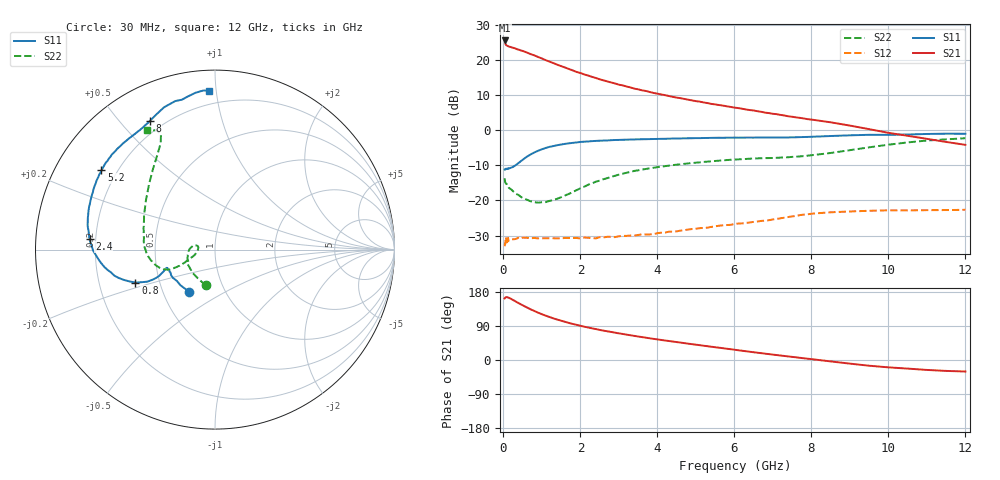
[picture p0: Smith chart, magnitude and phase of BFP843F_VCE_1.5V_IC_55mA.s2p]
! Infineon Technologies  Discrete & RF Semiconductors
! BFP843F
! VCE =  1.5 V,  IC =  55 mA
! Common Emitter S-Parameters:  Aug 2013
# GHz  S  MA  R  50
!  f  S11  S21  S12  S22
! GHz  MAG  ANG  MAG  ANG  MAG  ANG  MAG  ANG
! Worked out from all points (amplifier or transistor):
!   103 points, 30 MHz to 12 GHz, reference 50 ohm
!   highest |S21| = 25.5 dB at 30 MHz (marker M1)
!   |S21| within 3 dB of that: start of sweep to 503.2 MHz
!   unconditionally stable (mu >= 1): start of sweep to end of sweep
!   at 400 MHz: K = 1.29, MAG = 23.4 dB, |S12| = -30.5 dB
!   at 3.7 GHz: K = 1.78, MAG = 15.3 dB, |S12| = -29.7 dB
!   at 12 GHz: K = 1.47, MAG = 5.2 dB, |S12| = -22.7 dB
!   S11 on the Smith chart (normalised r, x): 30 MHz: 0.68, -0.35; 800 MHz: 0.36, -0.17; 2.4 GHz: 0.18, +0.04; 5.2 GHz: 0.14, +0.31; 8 GHz: 0.15, +0.60; 12 GHz: 0.12, +0.96
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0.03  0.2754 -121.2  18.77 162.4  0.0224 29.0  0.206 -104.6
0.04  0.2768 -134.2  17.58 163.0  0.0244 30.3  0.1867 -120.7
0.05  0.2747 -140.3  16.83 165.1  0.0241 22.2  0.1798 -135.1
0.07  0.2832 -149.6  16.13 165.9  0.0284 15.2  0.1727 -146.6
0.1  0.2799 -155.9  15.76 165.6  0.0281 14.5  0.1617 -161.5
0.35  0.3273 -155.9  14.12 152.5  0.0288 8.2  0.1225 168.7
0.5  0.3786 -154.2  13.31 144.4  0.0296 5.6  0.1082 167.7
0.6  0.4157 -154.6  12.7 139.1  0.0295 6.5  0.1031 167.8
0.8  0.4799 -157.5  11.54 129.5  0.0293 6.5  0.0944 171.1
1.1  0.5582 -163.5  9.842 116.9  0.029 7.7  0.0948 -180.0
1.4  0.6101 -169.4  8.483 106.6  0.0289 9.5  0.1059 -170.3
1.7  0.6482 -174.7  7.373 97.8  0.0292 12.4  0.124 -163.9
2.1  0.6843 179.1  6.173 87.8  0.0297 14.7  0.157 -159.1
2.4  0.7016 175.2  5.5 81.6  0.0289 16.6  0.1849 -156.7
3.1  0.7281 166.8  4.315 68.7  0.0314 22.3  0.2399 -155.7
4.1  0.7508 155.8  3.208 52.9  0.0348 29.5  0.3024 -158.7
5.2  0.7714 145.1  2.469 37.7  0.0406 33.5  0.3529 -168.0
6.1  0.7808 136.4  2.055 25.8  0.047 34.5  0.3836 -178.0
8  0.8031 116.9  1.409 2.3  0.0648 31.7  0.4388 154.3
8.5  0.8233 113.0  1.289 -3.7  0.0679 27.8  0.4726 144.5
10.5  0.8654 100.3  0.829 -22.7  0.0722 18.0  0.6679 116.9
12  0.8868 92.2  0.617 -30.4  0.0736 16.9  0.7657 119.5
